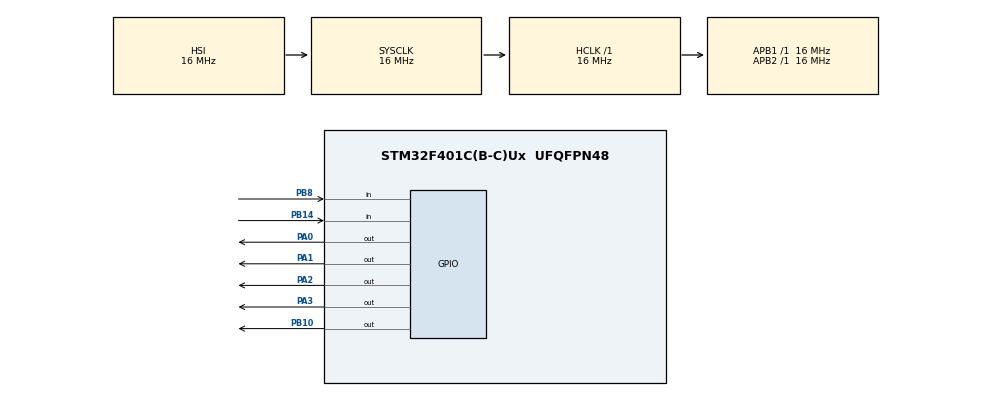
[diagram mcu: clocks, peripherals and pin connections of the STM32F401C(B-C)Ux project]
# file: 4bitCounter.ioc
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Mcu.Family=STM32F4
Mcu.Name=STM32F401C(B-C)Ux
Mcu.Package=UFQFPN48
NVIC.PriorityGroup=NVIC_PRIORITYGROUP_4
PA0-WKUP.Signal=GPIO_Output
PA1.Signal=GPIO_Output
PA2.Signal=GPIO_Output
PA3.Signal=GPIO_Output
PB10.Signal=GPIO_Output
PB14.Signal=GPIO_Input
PB8.Signal=GPIO_Input
ProjectManager.HeapSize=0x200
ProjectManager.StackSize=0x400
ProjectManager.TargetToolchain=STM32CubeIDE
RCC.AHBFreq_Value=16000000
RCC.APB1Freq_Value=16000000
RCC.APB2Freq_Value=16000000
RCC.CortexFreq_Value=16000000
RCC.HSE_VALUE=25000000
RCC.HSI_VALUE=16000000
RCC.LSE_VALUE=32768
RCC.SYSCLKFreq_VALUE=16000000
RCC.VCOOutputFreq_Value=192000000
board=custom

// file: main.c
/* USER CODE BEGIN Header */
/**
  ******************************************************************************
  * @file           : main.c
  * @brief          : Main program body
  ******************************************************************************
  * @attention
  *
  * Copyright (c) 2022 STMicroelectronics.
  * All rights reserved.
  *
  * This software is licensed under terms that can be found in the LICENSE file
  * in the root directory of this software component.
  * If no LICENSE file comes with this software, it is provided AS-IS.
  *
  ******************************************************************************
  */
/* USER CODE END Header */
#include "main.h"

void SystemClock_Config(void);
static void MX_GPIO_Init(void);

int main(void)
{

  /* MCU Configuration--------------------------------------------------------*/

  /* Reset of all peripherals, Initializes the Flash interface and the Systick. */
  HAL_Init();

  /* Configure the system clock */
  SystemClock_Config();

  /* Initialize all configured peripherals */
  MX_GPIO_Init();
  /* USER CODE BEGIN 2 */
  int i;
  /* USER CODE END 2 */

  /* Infinite loop */
  while (1)
  {

    /* USER CODE BEGIN 3 */

	  if (HAL_GPIO_ReadPin(GPIOB, GPIO_PIN_8))
		  {
			  GPIOA->ODR = 0;
			  i=0;
			  HAL_GPIO_WritePin(GPIOB,GPIO_PIN_10,0);
			  HAL_Delay(500);
		  }
	  else if (HAL_GPIO_ReadPin(GPIOB,GPIO_PIN_14))
		  {
			  if (i<16)
			  {
				  GPIOA->ODR = i;
				  i++;
				  HAL_Delay(500);
			  }
			  else
			  {
				  GPIOA->ODR = 0;
				  HAL_GPIO_WritePin(GPIOB,GPIO_PIN_10,1);
			  }
		  }
	  else
		  {
			  continue;
		  }
  }
  /* USER CODE END 3 */
}

void SystemClock_Config(void)
{
  RCC_OscInitTypeDef RCC_OscInitStruct = {0};
  RCC_ClkInitTypeDef RCC_ClkInitStruct = {0};

  /** Configure the main internal regulator output voltage
  */
  __HAL_RCC_PWR_CLK_ENABLE();
  __HAL_PWR_VOLTAGESCALING_CONFIG(PWR_REGULATOR_VOLTAGE_SCALE2);

  /** Initializes the RCC Oscillators according to the specified parameters
  * in the RCC_OscInitTypeDef structure.
  */
  RCC_OscInitStruct.OscillatorType = RCC_OSCILLATORTYPE_HSI;
  RCC_OscInitStruct.HSIState = RCC_HSI_ON;
  RCC_OscInitStruct.HSICalibrationValue = RCC_HSICALIBRATION_DEFAULT;
  RCC_OscInitStruct.PLL.PLLState = RCC_PLL_NONE;
  if (HAL_RCC_OscConfig(&RCC_OscInitStruct) != HAL_OK)
  {
    Error_Handler();
  }

  /** Initializes the CPU, AHB and APB buses clocks
  */
  RCC_ClkInitStruct.ClockType = RCC_CLOCKTYPE_HCLK|RCC_CLOCKTYPE_SYSCLK
                              |RCC_CLOCKTYPE_PCLK1|RCC_CLOCKTYPE_PCLK2;
  RCC_ClkInitStruct.SYSCLKSource = RCC_SYSCLKSOURCE_HSI;
  RCC_ClkInitStruct.AHBCLKDivider = RCC_SYSCLK_DIV1;
  RCC_ClkInitStruct.APB1CLKDivider = RCC_HCLK_DIV1;
  RCC_ClkInitStruct.APB2CLKDivider = RCC_HCLK_DIV1;

  if (HAL_RCC_ClockConfig(&RCC_ClkInitStruct, FLASH_LATENCY_0) != HAL_OK)
  {
    Error_Handler();
  }
}

static void MX_GPIO_Init(void)
{
  GPIO_InitTypeDef GPIO_InitStruct = {0};

  /* GPIO Ports Clock Enable */
  __HAL_RCC_GPIOA_CLK_ENABLE();
  __HAL_RCC_GPIOB_CLK_ENABLE();

  /*Configure GPIO pin Output Level */
  HAL_GPIO_WritePin(GPIOA, GPIO_PIN_0|GPIO_PIN_1|GPIO_PIN_2|GPIO_PIN_3, GPIO_PIN_RESET);

  /*Configure GPIO pin Output Level */
  HAL_GPIO_WritePin(GPIOB, GPIO_PIN_10, GPIO_PIN_RESET);

  /*Configure GPIO pins : PA0 PA1 PA2 PA3 */
  GPIO_InitStruct.Pin = GPIO_PIN_0|GPIO_PIN_1|GPIO_PIN_2|GPIO_PIN_3;
  GPIO_InitStruct.Mode = GPIO_MODE_OUTPUT_PP;
  GPIO_InitStruct.Pull = GPIO_NOPULL;
  GPIO_InitStruct.Speed = GPIO_SPEED_FREQ_LOW;
  HAL_GPIO_Init(GPIOA, &GPIO_InitStruct);

  /*Configure GPIO pin : PB10 */
  GPIO_InitStruct.Pin = GPIO_PIN_10;
  GPIO_InitStruct.Mode = GPIO_MODE_OUTPUT_PP;
  GPIO_InitStruct.Pull = GPIO_NOPULL;
  GPIO_InitStruct.Speed = GPIO_SPEED_FREQ_LOW;
  HAL_GPIO_Init(GPIOB, &GPIO_InitStruct);

  /*Configure GPIO pins : PB14 PB8 */
  GPIO_InitStruct.Pin = GPIO_PIN_14|GPIO_PIN_8;
  GPIO_InitStruct.Mode = GPIO_MODE_INPUT;
  GPIO_InitStruct.Pull = GPIO_NOPULL;
  HAL_GPIO_Init(GPIOB, &GPIO_InitStruct);

}

void Error_Handler(void)
{
  __disable_irq();
  while (1)
  {
  }
}
